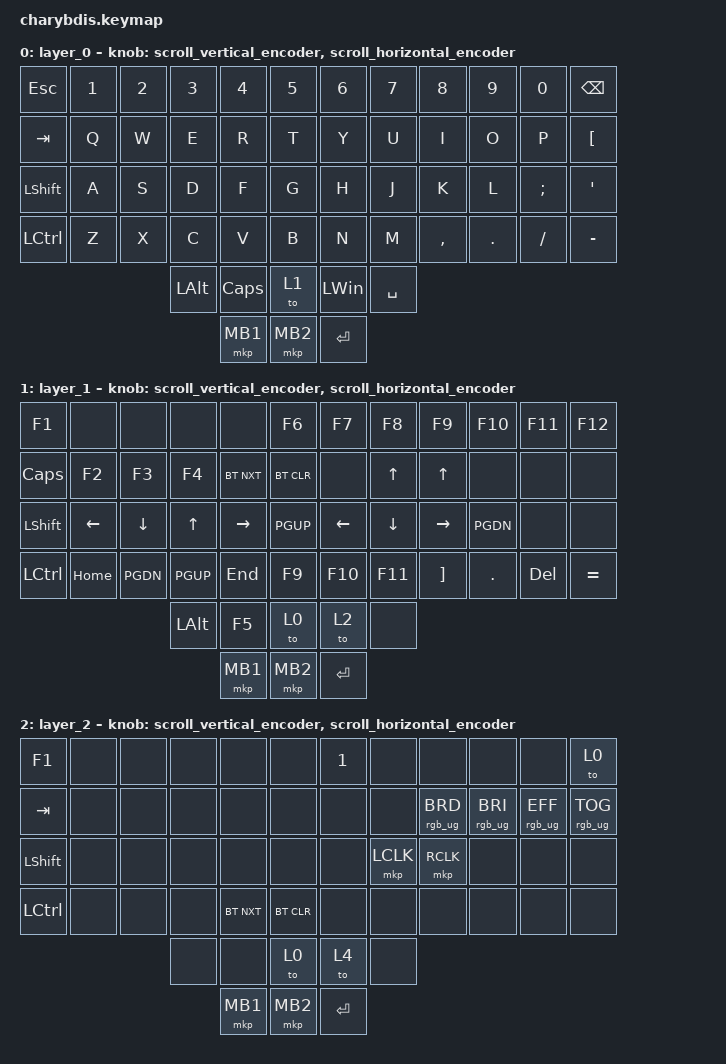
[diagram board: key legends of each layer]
#include <behaviors.dtsi>
#include <dt-bindings/zmk/bt.h>
#include <dt-bindings/zmk/keys.h>
#include <dt-bindings/zmk/rgb.h>
#include <dt-bindings/zmk/outputs.h>
#include <dt-bindings/zmk/pointing.h>
#include <dt-bindings/zmk/mouse.h>
#include <input/processors.dtsi>
#include <zephyr/dt-bindings/input/input-event-codes.h>

#define ZMK_POINTING_DEFAULT_MOVE_VAL 1000 // 600
#define ZMK_POINTING_DEFAULT_SCRL_VAL 12   // 10


&lt {
    tapping-term-ms = <200>;
    flavor = "balanced";
    quick-tap-ms = <150>;
};

&mmv_input_listener { input-processors = <&zip_xy_scaler 2 1>; };

&msc_input_listener { input-processors = <&zip_scroll_scaler 2 1>; };

&msc {
    acceleration-exponent = <0>;      // 0
    time-to-max-speed-ms = <100>;       // 300
    delay-ms = <0>;                   // 0
};

&mmv {
    time-to-max-speed-ms = <300>;
    acceleration-exponent = <1>;
    trigger-period-ms = <16>;
};

/ {
  // 上下滚动编码器行为
    scroll_vertical_encoder: scroll_vertical_encoder {
        compatible = "zmk,behavior-sensor-rotate";
        #sensor-binding-cells = <0>;
        bindings = <&msc SCRL_DOWN>, <&msc SCRL_UP>;
        tap-ms = <100>;
    };

    // 左右滚动编码器行为
    scroll_horizontal_encoder: scroll_horizontal_encoder {
        compatible = "zmk,behavior-sensor-rotate";
        #sensor-binding-cells = <0>;
        bindings = <&msc SCRL_LEFT>, <&msc SCRL_RIGHT>;
        tap-ms = <100>;
    };

behaviors {       
    };

   
   keymap {
        compatible = "zmk,keymap";

        layer_0 {
            bindings = <
&kp ESC         &kp N1  &kp N2  &kp N3        &kp N4     &kp N5      &kp N6     &kp N7     &kp N8     &kp N9      &kp N0    &kp BACKSPACE
&kp TAB         &kp Q   &kp W   &kp E         &kp R      &kp T       &kp Y      &kp U      &kp I      &kp O       &kp P     &kp LEFT_BRACKET
&kp LEFT_SHIFT  &kp A   &kp S   &kp D         &kp F      &kp G       &kp H      &kp J      &kp K      &kp L       &kp SEMI  &kp SQT
&kp LCTRL       &kp Z   &kp X   &kp C         &kp V      &kp B       &kp N      &kp M      &kp COMMA  &kp DOT     &kp FSLH  &kp MINUS
                                &kp LEFT_ALT  &kp CAPS   &to 1       &kp LWIN   &kp SPACE
                                              &mkp MB1   &mkp MB2    &kp ENTER
            >;
             sensor-bindings = <&scroll_vertical_encoder>,   // 编码器1：上下滚动
                             <&scroll_horizontal_encoder>;  // 编码器2：左右滚动

        };

        layer_1 {
            bindings = <
&kp F1          &none            &none          &none            &none            &kp F6        &kp F7     &kp F8      &kp F9            &kp F10        &kp F11   &kp F12
&kp CAPS        &kp F2           &kp F3         &kp F4           &bt BT_NXT       &bt BT_CLR    &none      &kp UP      &kp UP            &none          &none     &none
&kp LEFT_SHIFT  &kp LEFT         &kp DOWN       &kp UP           &kp RIGHT        &kp PGUP      &kp LEFT   &kp DOWN    &kp RIGHT         &kp PGDN       &none     &none
&kp LCTRL       &kp HOME         &kp PGDN       &kp PGUP         &kp END          &kp F9        &kp F10    &kp F11     &kp RIGHT_BRACKET &kp PERIOD     &kp DEL   &kp EQUAL
                                                &kp LEFT_ALT     &kp F5           &to 0         &to 2      &none
                                                                 &mkp MB1         &mkp MB2      &kp ENTER
            >;
             sensor-bindings = <&scroll_vertical_encoder>,   // 编码器1：上下滚动
                             <&scroll_horizontal_encoder>;  // 编码器2：左右滚动

        };

        layer_2 {
            bindings = <
&kp F1          &none            &none           &none            &none         &none         &kp N1        &none         &none           &none            &none             &to 0
&kp TAB         &none            &none           &none            &none         &none         &none         &none         &rgb_ug RGB_BRD &rgb_ug RGB_BRI  &rgb_ug RGB_EFF   &rgb_ug RGB_TOG
&kp LEFT_SHIFT  &none            &none           &none            &none         &none         &none         &mkp LCLK     &mkp RCLK       &none            &none             &none
&kp LCTRL       &none            &none           &none            &bt BT_NXT    &bt BT_CLR    &none         &none         &none           &none            &none             &none
                                                 &none            &none         &to 0         &to 4         &none
                                                                  &mkp MB1      &mkp MB2      &kp ENTER
            >;
             sensor-bindings = <&scroll_vertical_encoder>,   // 编码器1：上下滚动
                             <&scroll_horizontal_encoder>;  // 编码器2：左右滚动

        };

      /* Mouse {
            bindings = <
&none        &none         &none         &none         &none      &none         &none       &none      &none         &none         &none         &none
&none        &bt BT_SEL 0  &bt BT_SEL 1  &bt BT_SEL 3  &none      &bt BT_CLR    &bt BT_CLR  &none      &bt BT_SEL 2  &bt BT_SEL 1  &bt BT_SEL 0  &none
&none        &trans        &trans        &mkp MCLK     &trans     &none         &none       &trans     &mkp MCLK     &trans        &trans        &none
&bootloader  &trans        &mkp RCLK     &mo 4         &mkp LCLK  &mo 5         &mo 5       &mkp LCLK  &mo 4         &mkp RCLK     &trans        &bootloader
                                         &mo 5         &mkp LCLK  &mkp RCLK     &mkp RCLK   &mkp LCLK
                                                       &none      &trans        &trans
            >;

            
        };

        layer_4 {
            bindings = <
&trans  &trans  &trans     &trans     &trans     &trans       &trans     &trans     &trans     &trans     &trans  &trans
&trans  &trans  &trans     &trans     &trans     &trans       &trans     &trans     &trans     &trans     &trans  &trans
&trans  &trans  &trans     &mkp MCLK  &trans     &trans       &trans     &trans     &mkp MCLK  &trans     &trans  &trans
&trans  &trans  &mkp RCLK  &trans     &mkp LCLK  &trans       &trans     &mkp LCLK  &trans     &mkp RCLK  &trans  &trans
                           &trans     &mkp LCLK  &mkp RCLK    &mkp RCLK  &mkp LCLK
                                      &trans     &to 0        &trans
            >;
                
                
               
        };

        layer_5 {
            bindings = <
&trans  &trans  &trans     &trans     &trans     &trans       &trans     &trans     &trans     &trans     &trans  &trans
&trans  &trans  &trans     &trans     &trans     &trans       &trans     &trans     &trans     &trans     &trans  &trans
&trans  &trans  &trans     &mkp MCLK  &trans     &trans       &trans     &trans     &mkp MCLK  &trans     &trans  &trans
&trans  &trans  &mkp RCLK  &trans     &mkp LCLK  &trans       &trans     &mkp LCLK  &trans     &mkp RCLK  &trans  &trans
                           &trans     &mkp LCLK  &mkp RCLK    &mkp RCLK  &mkp LCLK
                                      &trans     &trans       &trans
            >;
                
                
        };*/
    };
};



